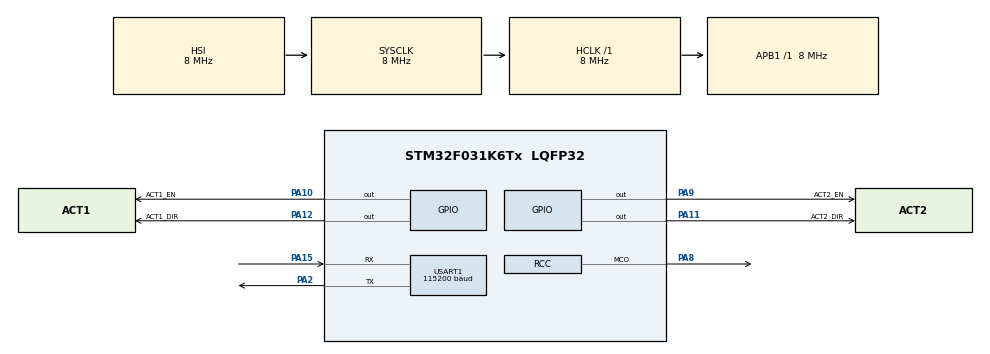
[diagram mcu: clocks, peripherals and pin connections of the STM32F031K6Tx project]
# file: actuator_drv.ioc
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Mcu.Family=STM32F0
Mcu.Name=STM32F031K6Tx
Mcu.Package=LQFP32
NVIC.USART1_IRQn=true\:0\:0\:false\:false\:true\:true\:true
PA10.GPIO_Label=ACT1_EN
PA10.GPIO_Speed=GPIO_SPEED_FREQ_HIGH
PA10.Signal=GPIO_Output
PA11.GPIO_Label=ACT2_DIR
PA11.GPIO_ModeDefaultOutputPP=GPIO_MODE_OUTPUT_PP
PA11.GPIO_PuPd=GPIO_NOPULL
PA11.GPIO_Speed=GPIO_SPEED_FREQ_HIGH
PA11.Signal=GPIO_Output
PA12.GPIO_Label=ACT1_DIR
PA12.GPIO_ModeDefaultOutputPP=GPIO_MODE_OUTPUT_PP
PA12.GPIO_Speed=GPIO_SPEED_FREQ_HIGH
PA12.Signal=GPIO_Output
PA13.Mode=Serial_Wire
PA13.Signal=SYS_SWDIO
PA14.Mode=Serial_Wire
PA14.Signal=SYS_SWCLK
PA15.Mode=Asynchronous
PA15.Signal=USART1_RX
PA2.Mode=Asynchronous
PA2.Signal=USART1_TX
PA8.Mode=Clock-out
PA8.Signal=RCC_MCO
PA9.GPIO_Label=ACT2_EN
PA9.GPIO_Speed=GPIO_SPEED_FREQ_HIGH
PA9.Signal=GPIO_Output
PF0-OSC_IN.Mode=HSE-External-Oscillator
PF0-OSC_IN.Signal=RCC_OSC_IN
PF1-OSC_OUT.Mode=HSE-External-Oscillator
PF1-OSC_OUT.Signal=RCC_OSC_OUT
ProjectManager.HeapSize=0x200
ProjectManager.StackSize=0x400
ProjectManager.TargetToolchain=STM32CubeIDE
RCC.AHBFreq_Value=8000000
RCC.APB1Freq_Value=8000000
RCC.APB1TimFreq_Value=8000000
RCC.FLatency=FLASH_LATENCY_0
RCC.HCLKFreq_Value=8000000
RCC.SYSCLKFreq_VALUE=8000000
RCC.Usart1ClockSelection=RCC_USART1CLKSOURCE_HSI
USART1.BaudRate=115200
USART1.DMADisableonRxErrorParam=ADVFEATURE_DMA_DISABLEONRXERROR
USART1.OverrunDisableParam=ADVFEATURE_OVERRUN_DISABLE
USART1.VirtualMode-Asynchronous=VM_ASYNC
board=custom

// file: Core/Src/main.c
/* USER CODE BEGIN Header */
/**
  ******************************************************************************
  * @file           : main.c
  * @brief          : Main program body
  ******************************************************************************
  * @attention
  *
  * <h2><center>&copy; Copyright (c) 2020 STMicroelectronics.
  * All rights reserved.</center></h2>
  *
  * This software component is licensed by ST under BSD 3-Clause license,
  * the "License"; You may not use this file except in compliance with the
  * License. You may obtain a copy of the License at:
  *                        opensource.org/licenses/BSD-3-Clause
  *
  ******************************************************************************
  */
/* USER CODE END Header */
#include "main.h"
#include "usart.h"
#include "gpio.h"

/* USER CODE BEGIN Includes */
#include <stdint.h>
#include <string.h>
#include <stdbool.h>
/* USER CODE END Includes */

/* USER CODE BEGIN PD */
#define RX_BUFFER_SIZE 3
#define SOF  0xAA
#define ACT1_EN_CMD (rx_buffer[1] & 0xF0)
#define ACT1_DIR_CMD (rx_buffer[1] & 0x0F)
#define ACT2_EN_CMD (rx_buffer[2] & 0xF0)
#define ACT2_DIR_CMD (rx_buffer[2] & 0x0F)
/* USER CODE END PD */

/* USER CODE BEGIN PM */
#define HAL_UART_Transmit_new_line() HAL_UART_Transmit(&huart1,(uint8_t*) "\r\n", strlen("\r\n"), HAL_MAX_DELAY)
#define HAL_UART_Transmit_Error_IT(err) HAL_UART_Transmit_IT(&huart1, (uint8_t*) (err), strlen((err)))
/* USER CODE END PM */

/* USER CODE BEGIN PV */

const char * info_device_name 	= "Platform Levelling Actuator Driver";
const char * info_fw_verison 	= "FW: 0.1.0";
const char * info_hw_version	= "HW: v0.0";
const char * info_build_date 	= __DATE__;
const char * info_build_time 	= __TIME__;
const char * info_company 		= "kelectronics.pl";
const char * info_serial_number = "001";

static uint8_t rx_buffer[RX_BUFFER_SIZE] = {0};
static volatile bool new_frame = false;
/* USER CODE END PV */

void SystemClock_Config(void);

int main(void)
{

  /* MCU Configuration--------------------------------------------------------*/

  /* Reset of all peripherals, Initializes the Flash interface and the Systick. */
  HAL_Init();

  /* Configure the system clock */
  SystemClock_Config();

  /* Initialize all configured peripherals */
  MX_GPIO_Init();
  MX_USART1_UART_Init();
  /* USER CODE BEGIN 2 */
  HAL_UART_Transmit(&huart1,(uint8_t*) info_device_name, strlen(info_device_name), HAL_MAX_DELAY);
  HAL_UART_Transmit_new_line();
  HAL_UART_Transmit(&huart1,(uint8_t*) info_fw_verison, strlen(info_fw_verison), HAL_MAX_DELAY);
  HAL_UART_Transmit_new_line();
  HAL_UART_Transmit(&huart1,(uint8_t*) info_hw_version, strlen(info_hw_version), HAL_MAX_DELAY);
  HAL_UART_Transmit_new_line();
  HAL_UART_Transmit(&huart1,(uint8_t*) info_build_date, strlen(info_build_date), HAL_MAX_DELAY);
  HAL_UART_Transmit_new_line();
//  HAL_UART_Transmit(&huart1,(uint8_t*) info_build_time, strlen(info_build_time), HAL_MAX_DELAY);
//  HAL_UART_Transmit_new_line();
  HAL_UART_Transmit(&huart1,(uint8_t*) info_company, strlen(info_company), HAL_MAX_DELAY);
  HAL_UART_Transmit_new_line();
  HAL_UART_Transmit(&huart1,(uint8_t*) "SN: ", strlen("SN: "), HAL_MAX_DELAY);
  HAL_UART_Transmit(&huart1,(uint8_t*) info_serial_number, strlen(info_serial_number), HAL_MAX_DELAY);
  HAL_UART_Transmit_new_line();

  /* USER CODE END 2 */

  /* Infinite loop */
  /* USER CODE BEGIN WHILE */
  HAL_UART_Receive_IT(&huart1, rx_buffer, 3);

  while (1)
  {
    /* USER CODE END WHILE */

    /* USER CODE BEGIN 3 */

	  if(new_frame)
	  {
		  if(rx_buffer[0] == SOF)
		  {
			  if((rx_buffer[1] & 0xF0) <= 0x10)
			  {
				  if((rx_buffer[1] & 0x0F) <= 0x01)
				  {
					  if((rx_buffer[2] & 0xF0) <= 0x10)
					  {
						  if((rx_buffer[2] & 0x0F) <= 0x01)
						  {
							  HAL_GPIO_WritePin(ACT1_EN_GPIO_Port, ACT1_EN_Pin, ACT1_EN_CMD ? GPIO_PIN_SET: GPIO_PIN_RESET);
							  HAL_GPIO_WritePin(ACT1_DIR_GPIO_Port, ACT1_DIR_Pin, ACT1_DIR_CMD ? GPIO_PIN_SET: GPIO_PIN_RESET);
							  HAL_GPIO_WritePin(ACT2_EN_GPIO_Port, ACT2_EN_Pin, ACT2_EN_CMD ? GPIO_PIN_SET: GPIO_PIN_RESET);
							  HAL_GPIO_WritePin(ACT2_DIR_GPIO_Port, ACT2_DIR_Pin, ACT2_DIR_CMD ? GPIO_PIN_SET: GPIO_PIN_RESET);
						  }
						  else
						  {
							  HAL_UART_Transmit_Error_IT("Error value in position E - 0xAAxxxE should be 0 or 1\r\n");
						  }
					  }
					  else
					  {
						  HAL_UART_Transmit_Error_IT("Error value in position E - 0xAAxxEx should be 0 or 1\r\n");
					  }
				  }
				  else
				  {
					  HAL_UART_Transmit_Error_IT("Error value in position E - 0xAAxExx should be 0 or 1\r\n");
				  }
			  }
			  else
			  {
				  HAL_UART_Transmit_Error_IT("Error value in position E - 0xAAExxx should be 0 or 1\r\n");
			  }
		  }
		  else
		  {
			  HAL_UART_Transmit_Error_IT("Error - wrong start of frame - should be 0xAA\r\n");
		  }

		  memset(rx_buffer, 0x00, RX_BUFFER_SIZE);
		  new_frame = false;
		  HAL_UART_Receive_IT(&huart1, rx_buffer, 3);
	  }
	  else
	  {

	  }

  }
  /* USER CODE END 3 */
}

void SystemClock_Config(void)
{
  RCC_OscInitTypeDef RCC_OscInitStruct = {0};
  RCC_ClkInitTypeDef RCC_ClkInitStruct = {0};
  RCC_PeriphCLKInitTypeDef PeriphClkInit = {0};

  /** Initializes the RCC Oscillators according to the specified parameters
  * in the RCC_OscInitTypeDef structure.
  */
  RCC_OscInitStruct.OscillatorType = RCC_OSCILLATORTYPE_HSI;
  RCC_OscInitStruct.HSIState = RCC_HSI_ON;
  RCC_OscInitStruct.HSICalibrationValue = RCC_HSICALIBRATION_DEFAULT;
  RCC_OscInitStruct.PLL.PLLState = RCC_PLL_NONE;
  if (HAL_RCC_OscConfig(&RCC_OscInitStruct) != HAL_OK)
  {
    Error_Handler();
  }
  /** Initializes the CPU, AHB and APB buses clocks
  */
  RCC_ClkInitStruct.ClockType = RCC_CLOCKTYPE_HCLK|RCC_CLOCKTYPE_SYSCLK
                              |RCC_CLOCKTYPE_PCLK1;
  RCC_ClkInitStruct.SYSCLKSource = RCC_SYSCLKSOURCE_HSI;
  RCC_ClkInitStruct.AHBCLKDivider = RCC_SYSCLK_DIV1;
  RCC_ClkInitStruct.APB1CLKDivider = RCC_HCLK_DIV1;

  if (HAL_RCC_ClockConfig(&RCC_ClkInitStruct, FLASH_LATENCY_0) != HAL_OK)
  {
    Error_Handler();
  }
  PeriphClkInit.PeriphClockSelection = RCC_PERIPHCLK_USART1;
  PeriphClkInit.Usart1ClockSelection = RCC_USART1CLKSOURCE_HSI;
  if (HAL_RCCEx_PeriphCLKConfig(&PeriphClkInit) != HAL_OK)
  {
    Error_Handler();
  }
  HAL_RCC_MCOConfig(RCC_MCO, RCC_MCO1SOURCE_SYSCLK, RCC_MCODIV_1);
}

/* USER CODE BEGIN 4 */

void HAL_UART_RxCpltCallback(UART_HandleTypeDef *huart)
{
	new_frame = true;
}

void HAL_UART_TxCpltCallback(UART_HandleTypeDef *huart)
{
//	new_frame = true;
	asm("nop");
}

void HAL_UART_AbortReceiveCpltCallback(UART_HandleTypeDef *huart)
{
	asm("nop");
}

void HAL_UART_ErrorCallback(UART_HandleTypeDef *huart)
{
	asm("nop");
}
void HAL_UART_AbortCpltCallback(UART_HandleTypeDef *huart)
{
	asm("nop");
}
void HAL_UART_AbortTransmitCpltCallback(UART_HandleTypeDef *huart)
{
	asm("nop");
}

/* USER CODE END 4 */

void Error_Handler(void)
{
}

/************************ (C) COPYRIGHT STMicroelectronics *****END OF FILE****/
